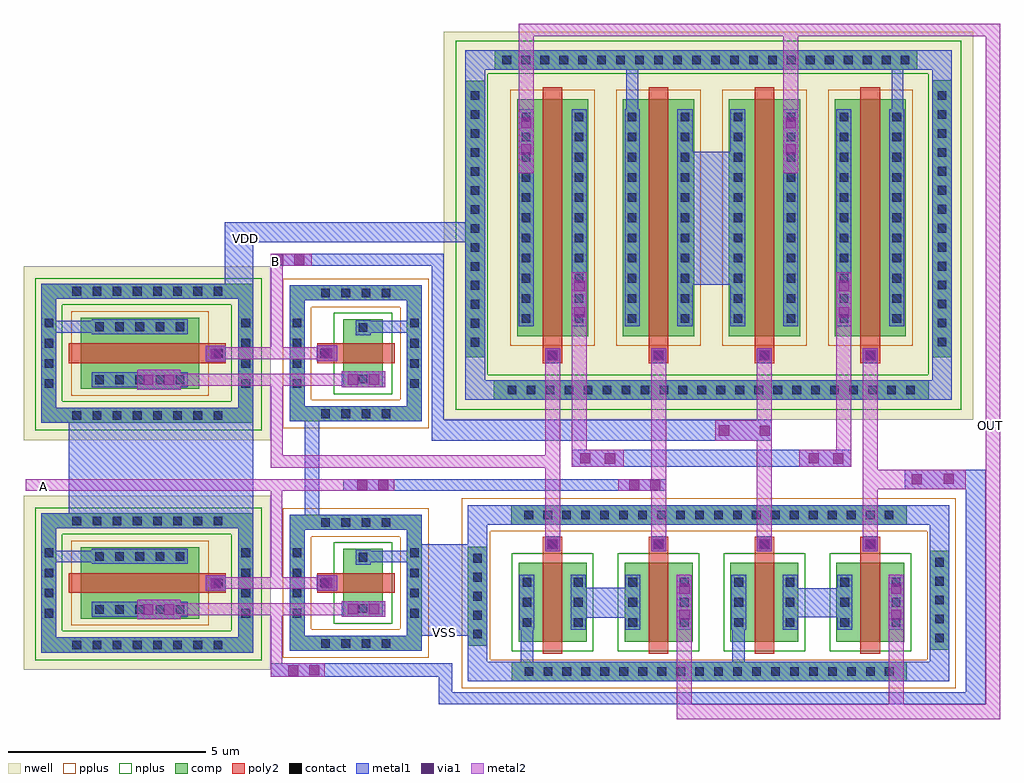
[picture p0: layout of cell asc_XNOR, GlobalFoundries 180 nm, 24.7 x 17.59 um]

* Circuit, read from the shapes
.subckt asc_XNOR A B OUT VDD VSS
XM1 VSS A n1 VSS nfet_03v3 w=1u l=0.5u
XM2 VSS B n2 VSS nfet_03v3 w=1u l=0.5u
XM3 n3 n2 VSS VSS nfet_03v3 w=2u l=0.5u
XM4 OUT A n3 VSS nfet_03v3 w=2u l=0.5u
XM5 n4 B VSS VSS nfet_03v3 w=2u l=0.5u
XM6 OUT n1 n4 VSS nfet_03v3 w=2u l=0.5u
XM7 VDD A n1 VDD pfet_03v3 w=3u l=0.5u
XM8 VDD B n2 VDD pfet_03v3 w=3u l=0.5u
XM9 n5 n2 OUT VDD pfet_03v3 w=6u l=0.5u
XM10 n6 A VDD VDD pfet_03v3 w=6u l=0.5u
XM11 OUT B n6 VDD pfet_03v3 w=6u l=0.5u
XM12 VDD n1 n5 VDD pfet_03v3 w=6u l=0.5u
.ends

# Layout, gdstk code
import gdstk
lib = gdstk.Library(unit=1e-6, precision=5e-09)
def R(c, l, rs):  # rectangles x0, y0, x1, y1
    for r in rs: c.add(gdstk.rectangle(r[:2], r[2:], *l))
def A(c, l, x, y, w, h, nx, ny, dx, dy):  # array of equal rectangles
    R(c, l, [(x+i*dx, y+j*dy, x+i*dx+w, y+j*dy+h) for i in range(nx) for j in range(ny)])
def P(c, l, *ps):  # polygons
    for p in ps: c.add(gdstk.Polygon(p, *l))
nwell = (21, 0)
comp = (22, 0)
poly2 = (30, 0)
pplus = (31, 0)
nplus = (32, 0)
contact = (33, 0)
metal1 = (34, 0)
via1 = (35, 0)
metal2 = (36, 0)

asc_xnor = lib.new_cell('asc_XNOR')
A(asc_xnor, nwell, 16.455, 10.17, 2.68, 6.88, 4, 1, 2.68, 0)
R(asc_xnor, nwell, [(4.42,2.17,10.66,6.57), (4.42,7.98,10.66,12.38), (15.045,8.5,28.44,18.32)])
A(asc_xnor, comp, 17.355, 2.88, 0.88, 2, 4, 1, 2.68, 0)
A(asc_xnor, comp, 16.895, 10.61, 0.46, 6, 8, 1, 1.34, 0)
A(asc_xnor, comp, 17.355, 10.61, 0.88, 6, 4, 1, 2.68, 0)
R(asc_xnor, comp, [(16.755,1.88,26.755,2.38), (27.335,2.685,27.835,5.185), (15.645,2.785,16.145,5.285), (16.935,2.88,17.355,4.88), (18.235,2.88,18.655,4.88), (19.615,2.88,20.035,4.88), (20.915,2.88,21.335,4.88), (22.295,2.88,22.715,4.88), (23.595,2.88,24.015,4.88), (24.975,2.88,25.395,4.88), (26.275,2.88,26.695,4.88), (5.85,3.47,8.85,3.93), (12.5,3.51,13.5,3.93), (5.85,3.93,8.85,4.81), (12.5,3.93,13.5,4.81), (5.85,4.81,8.85,5.27), (12.5,4.81,13.5,5.23), (16.75,5.84,26.75,6.34), (16.31,9,27.31,9.5), (5.85,9.28,8.85,9.74), (12.5,9.32,13.5,9.74), (5.85,9.74,8.85,10.62), (12.5,9.74,13.5,10.62), (15.585,10.08,16.085,17.08), (27.4,10.085,27.9,17.085), (5.85,10.62,8.85,11.08), (12.5,10.62,13.5,11.04), (16.325,17.35,27.025,17.85)])
P(asc_xnor, comp, [(4.86,2.61),(4.86,6.13),(5.24,6.13),(5.24,2.99),(9.84,2.99),(9.84,5.75),(5.24,5.75),(5.24,6.13),(10.22,6.13),(10.22,2.61)],
  [(11.14,2.65),(11.14,6.09),(11.52,6.09),(11.52,3.03),(14.11,3.03),(14.11,5.71),(11.52,5.71),(11.52,6.09),(14.49,6.09),(14.49,2.65)],
  [(4.86,8.42),(4.86,11.94),(5.24,11.94),(5.24,8.8),(9.84,8.8),(9.84,11.56),(5.24,11.56),(5.24,11.94),(10.22,11.94),(10.22,8.42)],
  [(11.14,8.46),(11.14,11.9),(11.52,11.9),(11.52,8.84),(14.11,8.84),(14.11,11.52),(11.52,11.52),(11.52,11.9),(14.49,11.9),(14.49,8.46)])
A(asc_xnor, poly2, 17.545, 2.58, 0.5, 2.6, 4, 1, 2.68, 0)
A(asc_xnor, poly2, 17.545, 5.18, 0.5, 0.36, 4, 1, 2.68, 0)
A(asc_xnor, poly2, 17.545, 9.93, 0.5, 0.38, 4, 1, 2.68, 0)
A(asc_xnor, poly2, 17.545, 10.31, 0.5, 6.6, 4, 1, 2.68, 0)
R(asc_xnor, poly2, [(5.55,4.12,9.15,4.62), (9.15,4.12,9.53,4.62), (11.84,4.12,12.2,4.62), (12.2,4.12,13.8,4.62), (5.55,9.93,9.15,10.43), (9.15,9.93,9.53,10.43), (11.84,9.93,12.2,10.43), (12.2,9.93,13.8,10.43)])
A(asc_xnor, pplus, 16.725, 10.37, 2.14, 6.48, 4, 1, 2.68, 0)
R(asc_xnor, pplus, [(15.495,1.71,16.215,6.515), (15.495,1.71,27.995,2.43), (27.275,1.71,27.995,6.515), (5.61,3.3,9.09,5.44), (15.495,5.68,27.995,6.515), (5.61,9.11,9.09,11.25)])
P(asc_xnor, pplus, [(10.97,2.48),(10.97,6.26),(11.69,6.26),(11.69,3.2),(13.94,3.2),(13.94,5.54),(11.69,5.54),(11.69,6.26),(14.66,6.26),(14.66,2.48)],
  [(10.97,8.29),(10.97,12.07),(11.69,12.07),(11.69,9.01),(13.94,9.01),(13.94,11.35),(11.69,11.35),(11.69,12.07),(14.66,12.07),(14.66,8.29)])
A(asc_xnor, nplus, 16.765, 2.64, 2.06, 2.48, 4, 1, 2.68, 0)
R(asc_xnor, nplus, [(4.71,2.42,10.43,3.16), (4.71,2.42,5.39,6.27), (9.67,2.42,10.43,6.27), (12.26,3.34,13.74,5.4), (4.71,5.6,10.43,6.27), (4.71,8.23,10.43,8.97), (4.71,8.23,5.39,12.08), (9.67,8.23,10.43,12.08), (15.34,8.755,16.16,18.095), (15.34,8.755,28.135,9.64), (27.3,8.755,28.135,18.095), (12.26,9.15,13.74,11.21), (4.71,11.41,10.43,12.08), (15.34,17.25,28.135,18.095)])
A(asc_xnor, contact, 17.085, 2.02, 0.22, 0.22, 20, 1, 0.48, 0)
A(asc_xnor, contact, 5.645, 2.69, 0.22, 0.22, 8, 2, 0.51, 3.14)
A(asc_xnor, contact, 11.94, 2.73, 0.22, 0.22, 4, 2, 0.51, 3.06)
A(asc_xnor, contact, 27.475, 2.865, 0.22, 0.22, 1, 5, 0, 0.48)
A(asc_xnor, contact, 15.785, 2.965, 0.22, 0.22, 1, 5, 0, 0.48)
A(asc_xnor, contact, 17.035, 3.26, 0.22, 0.22, 1, 3, 0, 0.51)
A(asc_xnor, contact, 18.335, 3.26, 0.22, 0.22, 1, 3, 0, 0.51)
A(asc_xnor, contact, 19.715, 3.26, 0.22, 0.22, 1, 3, 0, 0.51)
A(asc_xnor, contact, 21.015, 3.26, 0.22, 0.22, 1, 3, 0, 0.51)
A(asc_xnor, contact, 22.395, 3.26, 0.22, 0.22, 1, 3, 0, 0.51)
A(asc_xnor, contact, 23.695, 3.26, 0.22, 0.22, 1, 3, 0, 0.51)
A(asc_xnor, contact, 25.075, 3.26, 0.22, 0.22, 1, 3, 0, 0.51)
A(asc_xnor, contact, 26.375, 3.26, 0.22, 0.22, 1, 3, 0, 0.51)
A(asc_xnor, contact, 4.94, 3.495, 0.22, 0.22, 1, 4, 0, 0.51)
A(asc_xnor, contact, 9.92, 3.495, 0.22, 0.22, 1, 4, 0, 0.51)
A(asc_xnor, contact, 11.22, 3.495, 0.22, 0.22, 1, 4, 0, 0.51)
A(asc_xnor, contact, 14.19, 3.495, 0.22, 0.22, 1, 4, 0, 0.51)
A(asc_xnor, contact, 6.22, 3.59, 0.22, 0.22, 5, 2, 0.51, 1.34)
A(asc_xnor, contact, 17.685, 5.25, 0.22, 0.22, 4, 2, 2.68, 4.76)
A(asc_xnor, contact, 17.08, 5.98, 0.22, 0.22, 20, 1, 0.48, 0)
A(asc_xnor, contact, 5.645, 8.5, 0.22, 0.22, 8, 2, 0.51, 3.14)
A(asc_xnor, contact, 11.94, 8.54, 0.22, 0.22, 4, 2, 0.51, 3.06)
A(asc_xnor, contact, 16.66, 9.14, 0.22, 0.22, 22, 1, 0.48, 0)
A(asc_xnor, contact, 4.94, 9.305, 0.22, 0.22, 1, 4, 0, 0.51)
A(asc_xnor, contact, 9.92, 9.305, 0.22, 0.22, 1, 4, 0, 0.51)
A(asc_xnor, contact, 11.22, 9.305, 0.22, 0.22, 1, 4, 0, 0.51)
A(asc_xnor, contact, 14.19, 9.305, 0.22, 0.22, 1, 4, 0, 0.51)
A(asc_xnor, contact, 6.22, 9.4, 0.22, 0.22, 5, 2, 0.51, 1.34)
A(asc_xnor, contact, 15.725, 10.35, 0.22, 0.22, 1, 14, 0, 0.48)
A(asc_xnor, contact, 27.54, 10.355, 0.22, 0.22, 1, 14, 0, 0.48)
A(asc_xnor, contact, 17.015, 10.95, 0.22, 0.22, 8, 11, 1.34, 0.51)
A(asc_xnor, contact, 16.525, 17.49, 0.22, 0.22, 22, 1, 0.48, 0)
R(asc_xnor, contact, [(12.89,3.61,13.11,3.83), (9.23,4.26,9.45,4.48), (11.91,4.26,12.13,4.48), (12.89,4.91,13.11,5.13), (12.89,9.42,13.11,9.64), (9.23,10.07,9.45,10.29), (11.91,10.07,12.13,10.29), (12.89,10.72,13.11,10.94)])
A(asc_xnor, metal1, 17.605, 5.17, 0.38, 0.38, 4, 2, 2.68, 4.76)
A(asc_xnor, metal1, 16.935, 10.87, 0.38, 5.48, 8, 1, 1.34, 0)
R(asc_xnor, metal1, [(14.92,1.295,28.75,1.605), (14.92,1.295,15.25,2.335), (28.25,1.305,28.75,7.235), (15.645,1.88,16.145,2.785), (15.645,1.88,16.755,2.38), (16.755,1.88,26.755,2.38), (16.985,1.88,17.305,3.55), (22.34,1.88,22.66,3.55), (26.755,1.88,27.83,2.38), (27.335,1.88,27.835,2.685), (10.66,1.995,15.25,2.335), (4.86,2.61,5.24,2.99), (4.86,2.61,10.22,2.99), (9.84,2.61,10.22,6.13), (11.14,2.65,11.52,6.09), (11.52,2.65,14.49,3.03), (27.335,2.685,27.835,5.185), (15.645,2.785,16.145,5.285), (4.86,2.99,5.24,5.7), (14.11,3.03,14.49,5.71), (14.11,3.03,16.145,5.35), (16.955,3.18,17.335,4.58), (18.255,3.18,18.635,4.58), (19.635,3.18,20.015,4.58), (20.935,3.18,21.315,4.58), (22.315,3.18,22.695,4.58), (23.615,3.18,23.995,4.58), (24.995,3.18,25.375,4.58), (26.295,3.18,26.675,4.58), (7.28,3.45,8.38,3.95), (18.32,3.49,19.965,4.245), (23.675,3.505,25.32,4.23), (6.14,3.51,8.56,3.89), (12.46,3.51,13.56,3.91), (12.81,3.53,13.19,3.91), (9.02,4.16,9.52,4.56), (11.84,4.17,12.34,4.57), (9.15,4.18,9.53,4.56), (11.83,4.18,12.21,4.56), (12.81,4.83,13.19,5.21), (6.14,4.85,8.56,5.23), (27.335,5.185,27.835,6.34), (15.645,5.285,16.145,6.34), (4.86,5.7,5.24,6.13), (11.52,5.71,14.49,6.09), (11.52,5.71,11.89,8.84), (5.24,5.75,9.84,6.13), (5.55,5.755,10.22,8.8), (15.645,5.84,16.75,6.34), (16.75,5.84,26.75,6.34), (26.75,5.84,27.835,6.34), (12.495,6.7,20.665,6.995), (26.7,6.74,28.75,7.235), (18.28,7.31,25.35,7.735), (14.74,7.97,15.045,12.7), (14.74,7.97,23.345,8.495), (4.86,8.42,5.24,8.8), (4.86,8.42,10.22,8.8), (9.84,8.42,10.22,11.94), (11.14,8.46,11.52,11.9), (11.52,8.46,14.49,8.84), (4.86,8.8,5.24,11.51), (14.11,8.84,14.49,11.52), (15.585,9,16.085,10.08), (15.585,9,16.31,9.5), (16.31,9,27.31,9.5), (27.31,9,27.9,9.5), (27.4,9,27.9,10.085), (7.28,9.26,8.38,9.76), (6.14,9.32,8.56,9.7), (12.46,9.32,13.56,9.72), (12.81,9.34,13.19,9.72), (9.02,9.97,9.52,10.37), (11.84,9.98,12.34,10.38), (9.15,9.99,9.53,10.37), (11.83,9.99,12.21,10.37), (15.585,10.08,16.085,17.08), (27.4,10.085,27.9,17.085), (12.81,10.64,13.19,11.02), (6.14,10.66,8.56,11.04), (4.86,11.51,5.24,11.94), (11.52,11.52,14.49,11.9), (5.24,11.56,9.84,11.94), (9.505,11.56,10.22,13.495), (21.005,11.92,22.675,15.275), (10.66,12.4,15.045,12.7), (9.505,12.995,16.085,13.495), (19.66,15.515,19.96,17.85), (26.37,15.515,26.67,17.85), (15.585,17.08,16.085,17.85), (27.4,17.085,27.9,17.85), (15.585,17.35,16.325,17.85), (16.325,17.35,27.025,17.85), (27.025,17.35,27.9,17.85)])
A(asc_xnor, via1, 17.665, 5.22, 0.26, 0.26, 4, 2, 2.68, 4.78)
R(asc_xnor, via1, [(11.105,2.025,11.365,2.285), (11.635,2.03,11.895,2.29), (21,3.435,21.26,3.695), (26.36,3.435,26.62,3.695), (7.435,3.57,7.695,3.83), (7.965,3.57,8.225,3.83), (12.615,3.58,12.875,3.84), (13.145,3.58,13.405,3.84), (21,4.095,21.26,4.355), (26.36,4.095,26.62,4.355), (9.14,4.23,9.4,4.49), (11.96,4.24,12.22,4.5), (12.85,6.715,13.11,6.975), (19.73,6.715,19.99,6.975), (13.38,6.72,13.64,6.98), (20.26,6.72,20.52,6.98), (26.88,6.865,27.14,7.125), (27.69,6.875,27.95,7.135), (19.115,7.39,19.375,7.65), (24.895,7.39,25.155,7.65), (18.49,7.395,18.75,7.655), (24.27,7.395,24.53,7.655), (23.035,8.09,23.295,8.35), (22.005,8.1,22.265,8.36), (7.435,9.38,7.695,9.64), (7.965,9.38,8.225,9.64), (12.615,9.39,12.875,9.65), (13.145,9.39,13.405,9.65), (9.14,10.04,9.4,10.3), (11.96,10.05,12.22,10.31), (18.345,11.09,18.605,11.35), (25.035,11.09,25.295,11.35), (18.345,11.75,18.605,12.01), (25.035,11.75,25.295,12.01), (10.725,12.42,10.985,12.68), (11.255,12.425,11.515,12.685), (17,15.215,17.26,15.475), (23.69,15.215,23.95,15.475), (17,15.875,17.26,16.135), (23.69,15.875,23.95,16.135)])
A(asc_xnor, metal2, 17.605, 5.17, 0.38, 5.14, 4, 1, 2.68, 0)
R(asc_xnor, metal2, [(20.935,0.925,21.315,4.58), (20.935,0.925,29.115,1.295), (26.295,0.925,26.675,4.58), (28.75,0.925,29.115,18.515), (10.66,1.995,10.95,3.85), (10.66,1.995,12.025,2.335), (7.28,3.45,8.38,3.95), (12.46,3.51,13.56,3.91), (9.02,4.16,9.52,4.56), (11.84,4.17,12.34,4.57), (10.66,4.22,10.95,6.995), (4.47,6.7,13.785,6.995), (19.455,6.7,20.665,6.995), (25.645,6.74,28.25,7.235), (10.66,7.285,10.97,9.66), (10.71,7.285,17.985,7.595), (18.28,7.31,18.66,12.235), (18.28,7.31,19.59,7.735), (24.03,7.31,25.35,7.735), (24.97,7.31,25.35,12.235), (21.91,7.965,23.345,8.49), (7.28,9.26,8.38,9.76), (12.46,9.32,13.56,9.72), (9.02,9.97,9.52,10.37), (11.84,9.98,12.34,10.38), (10.66,10.03,10.97,12.7), (10.66,12.4,11.7,12.7), (16.935,14.74,17.315,18.515), (23.635,14.74,24.015,18.515), (16.94,18.205,29.115,18.515)])
asc_xnor.add(gdstk.FlexPath([(13.11,5.04),(14.41,5.04)], 0.3, ends="flush", simple_path=True, layer=34, datatype=0))  # metal1
asc_xnor.add(gdstk.FlexPath([(6.95,5.04),(4.94,5.04)], 0.3, ends="flush", simple_path=True, layer=34, datatype=0))  # metal1
asc_xnor.add(gdstk.FlexPath([(13.11,10.85),(14.41,10.85)], 0.3, ends="flush", simple_path=True, layer=34, datatype=0))  # metal1
asc_xnor.add(gdstk.FlexPath([(6.95,10.85),(4.94,10.85)], 0.3, ends="flush", simple_path=True, layer=34, datatype=0))  # metal1
asc_xnor.add(gdstk.FlexPath([(9.45,4.37),(12.34,4.37)], 0.3, ends="flush", simple_path=True, layer=36, datatype=0))  # metal2
asc_xnor.add(gdstk.FlexPath([(7.97,3.7),(13,3.7)], 0.3, ends="flush", simple_path=True, layer=36, datatype=0))  # metal2
asc_xnor.add(gdstk.FlexPath([(9.45,10.18),(12.34,10.18)], 0.3, ends="flush", simple_path=True, layer=36, datatype=0))  # metal2
asc_xnor.add(gdstk.FlexPath([(7.97,9.51),(13,9.51)], 0.3, ends="flush", simple_path=True, layer=36, datatype=0))  # metal2
asc_xnor.add(gdstk.Label('VDD', (10.03,13.095), layer=34, texttype=10))
asc_xnor.add(gdstk.Label('VSS', (15.05,3.115), layer=34, texttype=10))
asc_xnor.add(gdstk.Label('A', (4.91,6.82), layer=36, texttype=10))
asc_xnor.add(gdstk.Label('B', (10.795,12.5), layer=36, texttype=10))
asc_xnor.add(gdstk.Label('OUT', (28.885,8.365), layer=36, texttype=10))

lib.write_gds('asc_XNOR.gds')
